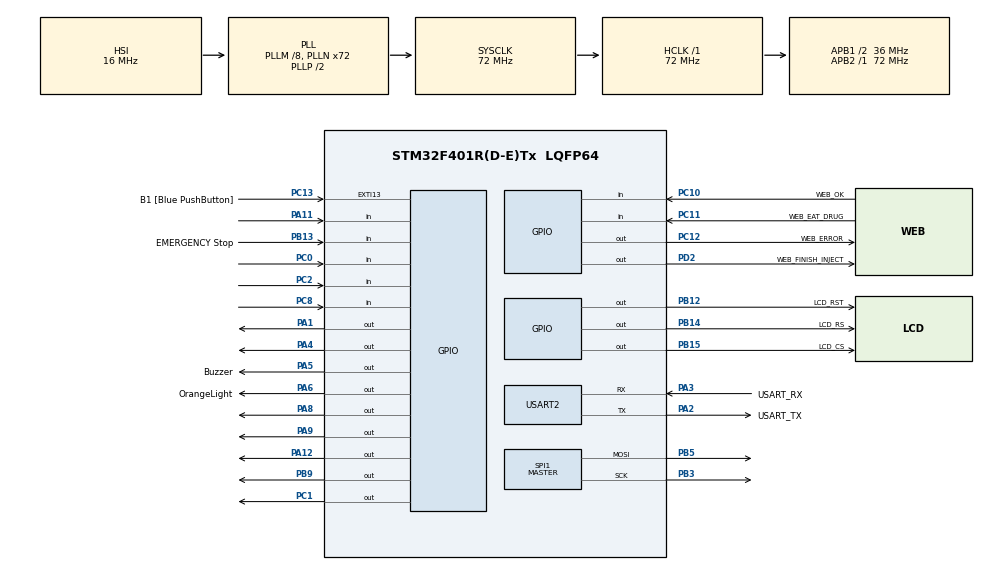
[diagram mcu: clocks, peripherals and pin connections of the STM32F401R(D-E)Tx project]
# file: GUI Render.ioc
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FREERTOS.Tasks01=GUI_RENDER,24,128,gui_render,Default,NULL,Dynamic,NULL,NULL;Buzzer,24,128,buzzer,Default,NULL,Dynamic,NULL,NULL;alarmlight,24,128,OrangeAlarmLight,Default,NULL,Dynamic,NULL,NULL;wifi,24,128,WiFi,Default,NULL,Dynamic,NULL,NULL;emergencystop,24,128,EmergencyStop,Default,NULL,Dynamic,NULL,NULL
FREERTOS.configUSE_NEWLIB_REENTRANT=1
Mcu.Family=STM32F4
Mcu.Name=STM32F401R(D-E)Tx
Mcu.Package=LQFP64
NVIC.PriorityGroup=NVIC_PRIORITYGROUP_4
NVIC.TIM2_IRQn=true\:15\:0\:false\:false\:true\:false\:false\:true\:true
NVIC.TimeBase=TIM2_IRQn
NVIC.TimeBaseIP=TIM2
PA1.Signal=GPIO_Output
PA11.Signal=GPIO_Input
PA12.Signal=GPIO_Output
PA13.GPIO_Label=TMS
PA13.Mode=Serial_Wire
PA13.Signal=SYS_JTMS-SWDIO
PA14.GPIO_Label=TCK
PA14.Mode=Serial_Wire
PA14.Signal=SYS_JTCK-SWCLK
PA2.GPIO_Label=USART_TX
PA2.GPIO_Mode=GPIO_MODE_AF_PP
PA2.GPIO_PuPd=GPIO_NOPULL
PA2.GPIO_Speed=GPIO_SPEED_FREQ_LOW
PA2.Mode=Asynchronous
PA2.Signal=USART2_TX
PA3.GPIO_Label=USART_RX
PA3.GPIO_Mode=GPIO_MODE_AF_PP
PA3.GPIO_PuPd=GPIO_NOPULL
PA3.GPIO_Speed=GPIO_SPEED_FREQ_LOW
PA3.Mode=Asynchronous
PA3.Signal=USART2_RX
PA4.Signal=GPIO_Output
PA5.GPIO_Label=Buzzer
PA5.Signal=GPIO_Output
PA6.GPIO_Label=OrangeLight
PA6.Signal=GPIO_Output
PA8.Signal=GPIO_Output
PA9.Signal=GPIO_Output
PB12.GPIO_Label=LCD_RST
PB12.Signal=GPIO_Output
PB13.GPIO_Label=EMERGENCY Stop
PB13.Signal=GPIO_Input
PB14.GPIO_Label=LCD_RS
PB14.Signal=GPIO_Output
PB15.GPIO_Label=LCD_CS
PB15.Signal=GPIO_Output
PB3.Mode=TX_Only_Simplex_Unidirect_Master
PB3.Signal=SPI1_SCK
PB5.Mode=TX_Only_Simplex_Unidirect_Master
PB5.Signal=SPI1_MOSI
PB9.Signal=GPIO_Output
PC0.Signal=GPIO_Input
PC1.Signal=GPIO_Output
PC10.GPIO_Label=WEB_OK
PC10.Signal=GPIO_Input
PC11.GPIO_Label=WEB_EAT_DRUG
PC11.Signal=GPIO_Input
PC12.GPIO_Label=WEB_ERROR
PC12.Signal=GPIO_Output
PC13-ANTI_TAMP.GPIO_Label=B1 [Blue PushButton]
PC13-ANTI_TAMP.GPIO_ModeDefaultEXTI=GPIO_MODE_IT_FALLING
PC13-ANTI_TAMP.GPIO_PuPd=GPIO_NOPULL
PC13-ANTI_TAMP.Signal=GPXTI13
PC14-OSC32_IN.Mode=LSE-External-Clock-Source
PC14-OSC32_IN.Signal=RCC_OSC32_IN
PC15-OSC32_OUT.Mode=LSE-External-Clock-Source
PC15-OSC32_OUT.Signal=RCC_OSC32_OUT
PC2.Signal=GPIO_Input
PC8.Signal=GPIO_Input
PD2.GPIO_Label=WEB_FINISH_INJECT
PD2.Signal=GPIO_Output
PH0\ -\ OSC_IN.Mode=HSE-External-Oscillator
PH0\ -\ OSC_IN.Signal=RCC_OSC_IN
PH1\ -\ OSC_OUT.Mode=HSE-External-Oscillator
PH1\ -\ OSC_OUT.Signal=RCC_OSC_OUT
ProjectManager.HeapSize=0x200
ProjectManager.StackSize=0x400
ProjectManager.TargetToolchain=STM32CubeIDE
RCC.48MHZClocksFreq_Value=20571428.57142857
RCC.AHBFreq_Value=72000000
RCC.APB1CLKDivider=RCC_HCLK_DIV2
RCC.APB1Freq_Value=36000000
RCC.APB1TimFreq_Value=72000000
RCC.APB2Freq_Value=72000000
RCC.APB2TimFreq_Value=72000000
RCC.CortexFreq_Value=72000000
RCC.HCLKFreq_Value=72000000
RCC.HSE_VALUE=8000000
RCC.HSI_VALUE=16000000
RCC.LSE_VALUE=32768
RCC.PLLM=8
RCC.PLLN=72
RCC.PLLQ=7
RCC.SYSCLKFreq_VALUE=72000000
RCC.SYSCLKSource=RCC_SYSCLKSOURCE_PLLCLK
RCC.VCOOutputFreq_Value=144000000
SPI1.BaudRatePrescaler=SPI_BAUDRATEPRESCALER_32
SPI1.Direction=SPI_DIRECTION_2LINES
SPI1.Mode=SPI_MODE_MASTER
SPI1.VirtualType=VM_MASTER
TIM3.Prescaler=0
USART2.VirtualMode=VM_ASYNC
VP_FREERTOS_VS_CMSIS_V2.Mode=CMSIS_V2
VP_SYS_VS_tim2.Mode=TIM2
VP_TIM3_VS_ClockSourceINT.Mode=Internal
board=NUCLEO-F401RE

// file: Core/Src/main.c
/* USER CODE BEGIN Header */
/**
  ******************************************************************************
  * @file           : main.c
  * @brief          : Main program body
  ******************************************************************************
  * @attention
  *
  * Copyright (c) 2023 STMicroelectronics.
  * All rights reserved.
  *
  * This software is licensed under terms that can be found in the LICENSE file
  * in the root directory of this software component.
  * If no LICENSE file comes with this software, it is provided AS-IS.
  *
  ******************************************************************************
  */
/* USER CODE END Header */
#include "main.h"
#include "cmsis_os.h"
#include "spi.h"
#include "tim.h"
#include "usart.h"
#include "gpio.h"

void SystemClock_Config(void);
void MX_FREERTOS_Init(void);

int main(void)
{

  /* MCU Configuration--------------------------------------------------------*/

  /* Reset of all peripherals, Initializes the Flash interface and the Systick. */
  HAL_Init();

  /* Configure the system clock */
  SystemClock_Config();

  /* Initialize all configured peripherals */
  MX_GPIO_Init();
  MX_USART2_UART_Init();
  MX_SPI1_Init();
  MX_TIM3_Init();

  /* Init scheduler */
  osKernelInitialize();  /* Call init function for freertos objects (in freertos.c) */
  MX_FREERTOS_Init();

  /* Start scheduler */
  osKernelStart();

  /* We should never get here as control is now taken by the scheduler */
  /* Infinite loop */
  while (1)
  {

  }
}

void SystemClock_Config(void)
{
  RCC_OscInitTypeDef RCC_OscInitStruct = {0};
  RCC_ClkInitTypeDef RCC_ClkInitStruct = {0};

  /** Configure the main internal regulator output voltage
  */
  __HAL_RCC_PWR_CLK_ENABLE();
  __HAL_PWR_VOLTAGESCALING_CONFIG(PWR_REGULATOR_VOLTAGE_SCALE2);

  /** Initializes the RCC Oscillators according to the specified parameters
  * in the RCC_OscInitTypeDef structure.
  */
  RCC_OscInitStruct.OscillatorType = RCC_OSCILLATORTYPE_HSI;
  RCC_OscInitStruct.HSIState = RCC_HSI_ON;
  RCC_OscInitStruct.HSICalibrationValue = RCC_HSICALIBRATION_DEFAULT;
  RCC_OscInitStruct.PLL.PLLState = RCC_PLL_ON;
  RCC_OscInitStruct.PLL.PLLSource = RCC_PLLSOURCE_HSI;
  RCC_OscInitStruct.PLL.PLLM = 8;
  RCC_OscInitStruct.PLL.PLLN = 72;
  RCC_OscInitStruct.PLL.PLLP = RCC_PLLP_DIV2;
  RCC_OscInitStruct.PLL.PLLQ = 7;
  if (HAL_RCC_OscConfig(&RCC_OscInitStruct) != HAL_OK)
  {
    Error_Handler();
  }

  /** Initializes the CPU, AHB and APB buses clocks
  */
  RCC_ClkInitStruct.ClockType = RCC_CLOCKTYPE_HCLK|RCC_CLOCKTYPE_SYSCLK
                              |RCC_CLOCKTYPE_PCLK1|RCC_CLOCKTYPE_PCLK2;
  RCC_ClkInitStruct.SYSCLKSource = RCC_SYSCLKSOURCE_PLLCLK;
  RCC_ClkInitStruct.AHBCLKDivider = RCC_SYSCLK_DIV1;
  RCC_ClkInitStruct.APB1CLKDivider = RCC_HCLK_DIV2;
  RCC_ClkInitStruct.APB2CLKDivider = RCC_HCLK_DIV1;

  if (HAL_RCC_ClockConfig(&RCC_ClkInitStruct, FLASH_LATENCY_2) != HAL_OK)
  {
    Error_Handler();
  }
}

void HAL_TIM_PeriodElapsedCallback(TIM_HandleTypeDef *htim)
{
  if (htim->Instance == TIM2) {
    HAL_IncTick();
  }
}

void Error_Handler(void)
{
  __disable_irq();
  while (1)
  {
  }
}

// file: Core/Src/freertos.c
/* USER CODE BEGIN Header */
/**
  ******************************************************************************
  * File Name          : freertos.c
  * Description        : Code for freertos applications
  ******************************************************************************
  * @attention
  *
  * Copyright (c) 2023 STMicroelectronics.
  * All rights reserved.
  *
  * This software is licensed under terms that can be found in the LICENSE file
  * in the root directory of this software component.
  * If no LICENSE file comes with this software, it is provided AS-IS.
  *
  ******************************************************************************
  */
/* USER CODE END Header */

#include "FreeRTOS.h"
#include "task.h"
#include "main.h"
#include "cmsis_os.h"

/* USER CODE BEGIN Includes */
#include "st7735.h"
#include "lzy.h"
#include "firstscreen.h"
#include "internet_connected.h"
#include "internet_error.h"
#include "KeyPad.h"
#include "tim.h"
/* USER CODE END Includes */

/* Definitions for GUI_RENDER */
osThreadId_t GUI_RENDERHandle;
const osThreadAttr_t GUI_RENDER_attributes = {
  .name = "GUI_RENDER",
  .stack_size = 128 * 4,
  .priority = (osPriority_t) osPriorityNormal,
};
/* Definitions for Buzzer */
osThreadId_t BuzzerHandle;
const osThreadAttr_t Buzzer_attributes = {
  .name = "Buzzer",
  .stack_size = 128 * 4,
  .priority = (osPriority_t) osPriorityNormal,
};
/* Definitions for alarmlight */
osThreadId_t alarmlightHandle;
const osThreadAttr_t alarmlight_attributes = {
  .name = "alarmlight",
  .stack_size = 128 * 4,
  .priority = (osPriority_t) osPriorityNormal,
};
/* Definitions for wifi */
osThreadId_t wifiHandle;
const osThreadAttr_t wifi_attributes = {
  .name = "wifi",
  .stack_size = 128 * 4,
  .priority = (osPriority_t) osPriorityNormal,
};
/* Definitions for emergencystop */
osThreadId_t emergencystopHandle;
const osThreadAttr_t emergencystop_attributes = {
  .name = "emergencystop",
  .stack_size = 128 * 4,
  .priority = (osPriority_t) osPriorityNormal,
};

void gui_render(void *argument);
void buzzer(void *argument);
void OrangeAlarmLight(void *argument);
void WiFi(void *argument);
void EmergencyStop(void *argument);

void MX_FREERTOS_Init(void); /* (MISRA C 2004 rule 8.1) */

void MX_FREERTOS_Init(void) {

  /* Create the thread(s) */
  /* creation of GUI_RENDER */
  GUI_RENDERHandle = osThreadNew(gui_render, NULL, &GUI_RENDER_attributes);

  /* creation of Buzzer */
  BuzzerHandle = osThreadNew(buzzer, NULL, &Buzzer_attributes);

  /* creation of alarmlight */
  alarmlightHandle = osThreadNew(OrangeAlarmLight, NULL, &alarmlight_attributes);

  /* creation of wifi */
  wifiHandle = osThreadNew(WiFi, NULL, &wifi_attributes);

  /* creation of emergencystop */
  emergencystopHandle = osThreadNew(EmergencyStop, NULL, &emergencystop_attributes);

}

/* USER CODE BEGIN Header_gui_render */
/**
  * @brief  Function implementing the GUI_RENDER thread.
  * @param  argument: Not used
  * @retval None
  */

// PUBLIC VARIABLES FOR STATUS
// Alarm
int orange_light = 0;
int buzzer_on = 0;
// TFT topbar
char time = 'Wait for WEB...'; // Time function should update it every 1 min (get time from web)
int icon_charged = 0; // charged -> 1
int icon_internet = 0; // no internet -> 0
int prev_internet = 0;
int battery_bad = 0; // battery ok -> 0
int message = 0; // Messagebox pop out -> 0 = No Error	1 = Done Injection	2 = Emergency Stop
int prevMessageBox = 0;
int screen_number = 0;
int screen_2_input_done = 0;
int injecting = 0;
char digit_1 = '_';
char digit_2 = '_';
int speed = 0;
int finish_inject = 0;
int emergency = 0;

int char_to_int(char a){
	if(a == '1'){
		return 1;
	}
	if(a == '2'){
		return 2;
	}
	if(a == '3'){
		return 3;
	}
	if(a == '4'){
		return 4;
	}
	if(a == '5'){
		return 5;
	}
	if(a == '6'){
		return 6;
	}
	if(a == '7'){
		return 7;
	}
	if(a == '8'){
		return 8;
	}
	if(a == '9'){
		return 9;
	}
	if(a == '0'){
		return 0;
	}
}

// DRAWING FUNCTIONS
void first_screen(){ // Initial screen
	ST7735_Init();
	ST7735_FillScreen(ST7735_BLACK);
	ST7735_DrawImage(0,160,128,160,gImage_firstscreen);
}

void top_bar(){ // Top bar drawing
	if(icon_internet == 1 && prev_internet != icon_internet){
		prev_internet = icon_internet;
		ST7735_DrawImage(113,15,15,15, gImage_internet_connected);
	}else{
		if(prev_internet != icon_internet){
			prev_internet = icon_internet;
			ST7735_DrawImage(113,15,15,15, gImage_internet_error);
		}
	}
}

void screen_0(){
	ST7735_DrawString(20, 40, "CID# 14", ST7735_WHITE, ST7735_BLUE, 2, 12);
	ST7735_DrawString(10, 60, "iSyringe", ST7735_WHITE, ST7735_BLUE, 2, 13);
	if(injecting == 1){
		ST7735_DrawString(5, 100, "Injecting...", ST7735_MAGENTA, ST7735_CYAN, 2, 11);
		ST7735_FillRectangle( 0,  140,  128,  20,  ST7735_BLUE); // Bottom
	}

}

void screen_1(){
	ST7735_DrawString(10, 22, "Injection", ST7735_WHITE, ST7735_ORANGE, 2, 12);
	ST7735_DrawString(10, 42, "Target Speed:", ST7735_WHITE, ST7735_BLACK, 1, 8);
	ST7735_DrawCharS(10, 54, digit_1, ST7735_WHITE, ST7735_BLACK, 2);
	ST7735_DrawCharS(25, 54, digit_2, ST7735_WHITE, ST7735_BLACK, 2);
	ST7735_DrawString(48, 54, "ml/min", ST7735_WHITE, ST7735_BLACK, 2, 12);
	ST7735_DrawString(10, 70, "Syringe Volume:", ST7735_WHITE, ST7735_BLACK, 1, 8);
	ST7735_DrawString(10, 82, "10 ml", ST7735_WHITE, ST7735_BLACK, 2, 12);
	ST7735_DrawString(10, 98, "Syringe Length:", ST7735_WHITE, ST7735_BLACK, 1, 8);
	ST7735_DrawString(10, 110, "10 cm", ST7735_WHITE, ST7735_BLACK, 2, 12);

	//HAL_Delay(100);
}

void bottom_bar(){ // Bottom bar drawing
	if(screen_number == 0 && message == 0 && injecting != 1){
		ST7735_DrawCharS(2, 142, '*', ST7735_RED, ST7735_WHITE, 2);
		ST7735_DrawString(15, 140, "=menu", ST7735_WHITE, ST7735_BLUE, 2, 13);
	}
	if(screen_number == 1 && screen_2_input_done == 0 && message == 0){
		ST7735_DrawString(18, 142, "-INPUT-", ST7735_WHITE, ST7735_BLUE, 2, 13);
	}
	if(screen_number == 1 && screen_2_input_done == 1 && message == 0){
		ST7735_DrawCharS(2, 142, '*', ST7735_RED, ST7735_WHITE, 2);
		ST7735_DrawString(15, 140, "=OK", ST7735_WHITE, ST7735_BLUE, 2, 13);
		ST7735_DrawCharS(60, 142, '#', ST7735_RED, ST7735_WHITE, 2);
		ST7735_DrawString(73, 140, "=X", ST7735_WHITE, ST7735_BLUE, 2, 13);
	}

}

void message_box(){ // Draw the box and the message
	if(message == 1 && prevMessageBox != 1){
		ST7735_FillRectangle( 14,  43,  100,  60,  ST7735_WHITE); // MessageBox Body
		ST7735_FillRectangle( 14,  25,  100,  18,  ST7735_GREEN); // MessageBox Top - Finish Injection
		ST7735_DrawString(40, 25, "INFO", ST7735_WHITE, ST7735_GREEN, 2, 12);
		ST7735_DrawString(16, 50, "Inject", ST7735_BLACK, ST7735_WHITE, 2, 12);
		ST7735_DrawString(16, 65, "finished", ST7735_BLACK, ST7735_WHITE, 2, 12);
		ST7735_DrawCharS(2, 142, '*', ST7735_RED, ST7735_WHITE, 2);
		ST7735_DrawString(15, 140, "=OK", ST7735_WHITE, ST7735_BLUE, 2, 13);
		prevMessageBox = message;
		if(KeyPad_WaitForKeyGetChar(0) == '*'){ // 用户确认操作关闭MessageBox
		  message = 0;
			prevMessageBox = 0;
		}
	} else {
		if(message == 2 ){
		ST7735_FillRectangle( 14,  43,  100,  60,  ST7735_WHITE); // MessageBox Body
		ST7735_FillRectangle( 14,  25,  100,  18,  ST7735_MAGENTA); // MessageBox Top - Emergency Stop
		ST7735_DrawString(35, 25, "ERROR", ST7735_WHITE, ST7735_MAGENTA, 2, 12);
		ST7735_DrawString(16, 50, "Emerge-", ST7735_BLACK, ST7735_WHITE, 2, 12);
		ST7735_DrawString(16, 65, "ncy", ST7735_BLACK, ST7735_WHITE, 2, 12);
		ST7735_DrawString(16, 80, "stopped", ST7735_BLACK, ST7735_WHITE, 2, 12);
		ST7735_DrawString(20, 140, "Restart to clear", ST7735_RED, ST7735_BLUE, 2, 12);
		prevMessageBox = message;
	} else {
		if(message == 3 && prevMessageBox != 3){
			ST7735_FillRectangle( 14,  43,  100,  60,  ST7735_WHITE); // MessageBox Body
					ST7735_FillRectangle( 14,  25,  100,  18,  ST7735_MAGENTA); // MessageBox Top - Emergency Stop
					ST7735_DrawString(35, 25, "Remind", ST7735_WHITE, ST7735_MAGENTA, 2, 12);
					ST7735_DrawString(16, 50, "Time to", ST7735_BLACK, ST7735_WHITE, 2, 12);
					ST7735_DrawString(16, 65, "eat drug", ST7735_BLACK, ST7735_WHITE, 2, 12);
					ST7735_DrawCharS(2, 142, '*', ST7735_RED, ST7735_WHITE, 2);
					ST7735_DrawString(15, 140, "=OK", ST7735_WHITE, ST7735_BLUE, 2, 13);
					prevMessageBox = message;
					if(KeyPad_WaitForKeyGetChar(0) == '*'){ // 用户确认操作关闭MessageBox
						  message = 0;
						  prevMessageBox = 0;
					}
		}
	}

	}
}

#define DIR_PIN GPIO_PIN_1
#define DIR_PORT GPIOA
#define STEP_PIN GPIO_PIN_4
#define STEP_PORT GPIOA

void microDelay (uint16_t delay)
{
	/*
  __HAL_TIM_SET_COUNTER(&htim3, 0);
  while (__HAL_TIM_GET_COUNTER(&htim3) < delay);
  */
	HAL_Delay(delay);
}

void step (int steps, uint8_t direction, uint16_t delay)
{
  int x;
  if (direction == 0)
    HAL_GPIO_WritePin(DIR_PORT, DIR_PIN, GPIO_PIN_SET);
  else
    HAL_GPIO_WritePin(DIR_PORT, DIR_PIN, GPIO_PIN_RESET);
  for(x=0; x<steps && emergency != 1; x=x+1)
  {
    HAL_GPIO_WritePin(STEP_PORT, STEP_PIN, GPIO_PIN_SET);
    microDelay(delay);
    HAL_GPIO_WritePin(STEP_PORT, STEP_PIN, GPIO_PIN_RESET);
    microDelay(delay);
  }
}

void StepperMotor(int speed){
	  int v = speed; // User Input
	  int V = 10;
	  int L = 10;
	  speed = (v*L)/(V*0.25);
	  ST7735_FillRectangle( 0,  19,  128,  122,  ST7735_BLACK); // Main Window
	  				  			ST7735_FillRectangle( 0,  140,  128,  20,  ST7735_BLUE); // Bottom
	  	  	  screen_0();
		       step(3200, 1, speed); // 推进
		        osDelay(100);
		        screen_number =0;
		        injecting = 0;
		        finish_inject = 1;
		        orange_light = 1;
		        message = 1;
		        buzzer_on = 1;

		        message_box();
		        //buzzer_on = 1;
		        ST7735_FillRectangle( 0,  19,  128,  122,  ST7735_BLACK); // Main Window
		        	  				  			ST7735_FillRectangle( 0,  140,  128,  20,  ST7735_BLUE); // Bottom
		        screen_0();
		        digit_1 = '_';
		        digit_2 = '_';
		      step(3200, 0, 1); // 回�??
		      bottom_bar();

}

void StepperInit(){
	step(1600, 1, 1); // 初始化：向前归位
	step(3200, 0, 1); // 初始化：向后归位
}
/* USER CODE END Header_gui_render */
void gui_render(void *argument)
{
  /* USER CODE BEGIN gui_render */
	first_screen();
	KeyPad_Init();
	StepperInit();
	//HAL_Delay(2000);
	ST7735_FillScreen(ST7735_BLACK);
	ST7735_FillRectangle( 0,  0,  128,  18,  ST7735_BLUE); // Top
	ST7735_DrawImage(113,15,15,15, gImage_internet_error);
	ST7735_FillRectangle( 0,  140,  128,  20,  ST7735_BLUE); // Bottom

  /* Infinite loop */

  for(;;)
  {
	  if(message != 0){ // MessageBox appears -> 阻止main window刷新
		  message_box();
	  }else{
		  if(screen_number == 0){ // Screen #0
			  screen_0();
			  if(KeyPad_WaitForKeyGetChar(500) == '*' && injecting != 1){ // 用户切换到第二屏
			    screen_number = 1;
				ST7735_FillRectangle( 0,  19,  128,  122,  ST7735_BLACK); // Main Window
				ST7735_FillRectangle( 0,  140,  128,  20,  ST7735_BLUE); // Bottom
			  }
		  }
		  if(screen_number == 1){ // Screen #1
			  screen_1();
			  bottom_bar();
			  if(screen_2_input_done != 1){
				  digit_1 = KeyPad_WaitForKeyGetChar(0);
				  screen_1();
				  digit_2 = KeyPad_WaitForKeyGetChar(0);
				  screen_1();
				  ST7735_FillRectangle( 0,  140,  128,  20,  ST7735_BLUE); // Bottom
				  screen_2_input_done = 1;
			  }
			  if(screen_2_input_done == 1){
				  if(KeyPad_WaitForKeyGetChar(0) == '*'){ // 用户确定�????????�????????

					  	  //ST7735_FillRectangle( 0,  19,  128,  122,  ST7735_BLACK); // Main Window
					  		//ST7735_FillRectangle( 0,  140,  128,  20,  ST7735_BLUE); // Bottom

						  	  speed = char_to_int(digit_1)*10 + char_to_int(digit_2);
						  	  injecting = 1;
						  	screen_number = 0;
						  	StepperMotor(speed);
				  	}
				  if(KeyPad_WaitForKeyGetChar(0) == '#'){ // 用户取消
				  			digit_1 = '_';
				  			digit_2 = '_';
				  			screen_2_input_done = 0;
				  			ST7735_FillRectangle( 0,  19,  128,  122,  ST7735_BLACK); // Main Window
				  			ST7735_FillRectangle( 0,  140,  128,  20,  ST7735_BLUE); // Bottom
				  			screen_number = 0;

				  	}
			  }
		  }
	  }
	  top_bar();
	  bottom_bar();
	  //HAL_Delay(1000);
    osDelay(1);
  }
  /* USER CODE END gui_render */
}

void buzzer(void *argument)
{
  /* USER CODE BEGIN buzzer */
  /* Infinite loop */
  for(;;)
  {
	  if(HAL_GPIO_ReadPin(GPIOC, GPIO_PIN_13) == 0){ // MUTE // �?????????�?????????查：按下高电�????????? or 按下低电�?????????
		  buzzer_on =0;
	  }
	  if(buzzer_on == 1){
		  for(int i = 0; i <=10; i++){
			  HAL_GPIO_TogglePin(GPIOA, GPIO_PIN_5);;
			  HAL_Delay(500);
		  }
		  buzzer_on = 0;
	  }
	  else{
		  HAL_GPIO_WritePin(GPIOA, GPIO_PIN_5, 0);
	  }
    osDelay(1);
  }
  /* USER CODE END buzzer */
}

void OrangeAlarmLight(void *argument)
{
  /* USER CODE BEGIN OrangeAlarmLight */
  /* Infinite loop */
  for(;;)
  {
	  if(orange_light == 1){
	  		  HAL_GPIO_TogglePin(GPIOA, GPIO_PIN_6);;
	  		  HAL_Delay(500);
	  	  }
	  if((orange_light == 1 && message == 1) || (orange_light == 1 && message == 3)){
		  	  for(int i = 0; i <= 10; i++){
		  		  HAL_GPIO_TogglePin(GPIOA, GPIO_PIN_6);;
		  		  HAL_Delay(500);
		  	  }
		  	  orange_light = 0;
	  	  }
	  else{
		  HAL_GPIO_WritePin(GPIOA, GPIO_PIN_6, 0);
	  }
    osDelay(1);
  }
  /* USER CODE END OrangeAlarmLight */
}

void WiFi(void *argument)
{
  /* USER CODE BEGIN WiFi */
  /* Infinite loop */
  for(;;)
  {
	  if(HAL_GPIO_ReadPin(GPIOC, GPIO_PIN_10) == 1){ //WEB_OK
		  icon_internet = 1;
	  	  }
	  if(HAL_GPIO_ReadPin(GPIOC, GPIO_PIN_11) == 1 && emergency != 1){ //WEB_EAT_DRUG
		  orange_light = 1;
	  		  message = 3;
	  		buzzer_on = 1;
	  	  }
	  if(emergency == 1){ //Emergency
		  HAL_GPIO_WritePin(GPIOC, GPIO_PIN_12, 1);
	  }
	  if(finish_inject == 1){
		  HAL_GPIO_WritePin(GPIOC, GPIO_PIN_12, 1);
		  HAL_Delay(500);
		  HAL_GPIO_WritePin(GPIOC, GPIO_PIN_12, 0);
		  finish_inject = 0;
	  }
    osDelay(1);
  }
  /* USER CODE END WiFi */
}

void EmergencyStop(void *argument)
{
  /* USER CODE BEGIN EmergencyStop */
  /* Infinite loop */
  for(;;)
  {
	  if(HAL_GPIO_ReadPin(GPIOB, GPIO_PIN_13) == 1){
		  emergency = 1;
	  }
	  if(emergency == 1){ //Emergency Stop
	  		  buzzer_on =1;
	  		orange_light = 1;
	  		message = 2;
	  		//ST7735_FillRectangle( 0,  140,  128,  20,  ST7735_BLUE); // Bottom
	  		message_box();
	  		bottom_bar();
	  	  }
    osDelay(1);
  }
  /* USER CODE END EmergencyStop */
}
